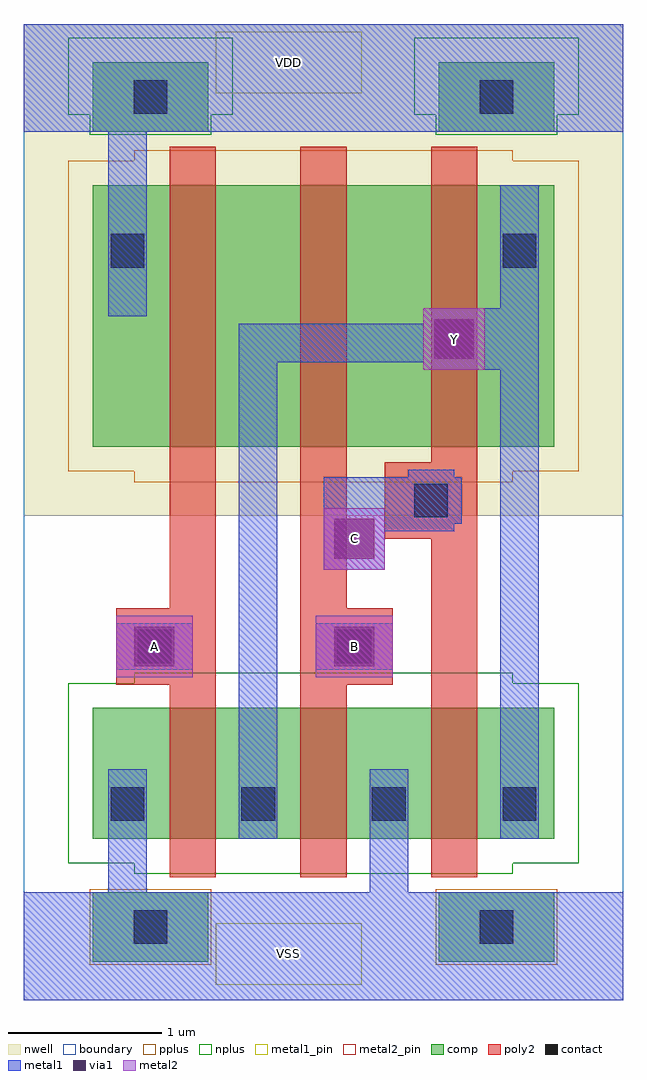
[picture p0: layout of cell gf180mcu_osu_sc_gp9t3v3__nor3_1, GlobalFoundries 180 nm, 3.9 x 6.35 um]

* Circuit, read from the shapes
.subckt gf180mcu_osu_sc_gp9t3v3__nor3_1 A B C VDD VSS Y
XM1 Y A VSS VSS nfet_03v3 w=0.85u l=0.3u
XM2 VSS B Y VSS nfet_03v3 w=0.85u l=0.3u
XM3 Y C VSS VSS nfet_03v3 w=0.85u l=0.3u
XM4 n1 A VDD VDD pfet_03v3 w=1.7u l=0.3u
XM5 n2 B n1 VDD pfet_03v3 w=1.7u l=0.3u
XM6 Y C n2 VDD pfet_03v3 w=1.7u l=0.3u
.ends

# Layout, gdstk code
import gdstk
lib = gdstk.Library(unit=1e-6, precision=1e-09)
def R(c, l, rs):  # rectangles x0, y0, x1, y1
    for r in rs: c.add(gdstk.rectangle(r[:2], r[2:], *l))
def A(c, l, x, y, w, h, nx, ny, dx, dy):  # array of equal rectangles
    R(c, l, [(x+i*dx, y+j*dy, x+i*dx+w, y+j*dy+h) for i in range(nx) for j in range(ny)])
boundary = (0, 0)
nwell = (21, 0)
comp = (22, 0)
poly2 = (30, 0)
pplus = (31, 0)
nplus = (32, 0)
contact = (33, 0)
metal1 = (34, 0)
metal1_pin = (34, 10)
via1 = (35, 0)
metal2 = (36, 0)
metal2_pin = (36, 10)

gf180mcu_osu_sc_gp9t3v3_ = lib.new_cell('gf180mcu_osu_sc_gp9t3v3__nor3_1')
R(gf180mcu_osu_sc_gp9t3v3_, boundary, [(5.7,0,9.6,6.35)])
R(gf180mcu_osu_sc_gp9t3v3_, nwell, [(5.7,3.15,9.6,6.35)])
R(gf180mcu_osu_sc_gp9t3v3_, comp, [(6.15,0.25,6.9,0.7), (8.4,0.25,9.15,0.7), (6.15,1.05,9.15,1.9), (6.15,3.6,9.15,5.3), (6.15,5.65,6.9,6.1), (8.4,5.65,9.15,6.1)])
R(gf180mcu_osu_sc_gp9t3v3_, poly2, [(6.65,0.8,6.95,2.05), (7.5,0.8,7.8,2.05), (8.35,0.8,8.65,3), (6.3,2.05,6.95,2.55), (7.5,2.05,8.1,2.55), (6.65,2.55,6.95,5.55), (7.5,2.55,7.8,5.55), (8.05,3,8.65,3.5), (8.35,3.5,8.65,5.55)])
R(gf180mcu_osu_sc_gp9t3v3_, pplus, [(6.13,0.23,6.92,0.72), (8.38,0.23,9.17,0.72), (6.42,3.37,8.88,3.44), (5.99,3.44,9.31,5.46), (6.42,5.46,8.88,5.53)])
R(gf180mcu_osu_sc_gp9t3v3_, nplus, [(6.42,0.82,8.88,0.89), (5.99,0.89,9.31,2.06), (6.42,2.06,8.88,2.13), (6.13,5.63,6.92,5.76), (8.38,5.63,9.17,5.76), (5.99,5.76,7.06,6.26), (8.24,5.76,9.31,6.26)])
A(gf180mcu_osu_sc_gp9t3v3_, contact, 6.265, 1.165, 0.22, 0.22, 4, 1, 0.85, 0)
R(gf180mcu_osu_sc_gp9t3v3_, contact, [(6.415,0.365,6.635,0.585), (8.665,0.365,8.885,0.585), (6.44,2.19,6.66,2.41), (7.74,2.19,7.96,2.41), (8.24,3.14,8.46,3.36), (6.265,4.765,6.485,4.985), (8.815,4.765,9.035,4.985), (6.415,5.765,6.635,5.985), (8.665,5.765,8.885,5.985)])
R(gf180mcu_osu_sc_gp9t3v3_, metal1, [(5.7,0,9.6,0.7), (6.25,0.7,6.5,1.5), (7.95,0.7,8.2,1.5), (7.1,1.05,7.35,4.15), (8.8,1.05,9.05,4.1), (6.3,2.15,6.8,2.45), (7.6,2.15,8.1,2.45), (7.65,2.8,8.05,3.05), (7.65,3.05,8.5,3.1), (7.65,3.1,8.55,3.4), (8.2,3.4,8.5,3.45), (8.3,4.1,9.05,4.15), (7.1,4.15,9.05,4.4), (8.3,4.4,9.05,4.5), (6.25,4.45,6.5,5.65), (8.8,4.5,9.05,5.3), (5.7,5.65,9.6,6.35)])
R(gf180mcu_osu_sc_gp9t3v3_, metal1_pin, [(6.95,0.1,7.9,0.5), (6.95,5.9,7.9,6.3)])
R(gf180mcu_osu_sc_gp9t3v3_, via1, [(6.42,2.17,6.68,2.43), (7.72,2.17,7.98,2.43), (7.72,2.87,7.98,3.13), (8.37,4.17,8.63,4.43)])
R(gf180mcu_osu_sc_gp9t3v3_, metal2, [(6.3,2.1,6.8,2.5), (7.6,2.1,8.1,2.5), (7.65,2.8,8.05,3.2), (8.3,4.1,8.7,4.5)])
R(gf180mcu_osu_sc_gp9t3v3_, metal2_pin, [(6.3,2.1,6.8,2.5), (7.6,2.1,8.1,2.5), (7.65,2.8,8.05,3.2), (8.3,4.1,8.7,4.5)])
gf180mcu_osu_sc_gp9t3v3_.add(gdstk.Label('A', (6.55,2.3), layer=36, texttype=10))
gf180mcu_osu_sc_gp9t3v3_.add(gdstk.Label('B', (7.85,2.3), layer=36, texttype=10))
gf180mcu_osu_sc_gp9t3v3_.add(gdstk.Label('C', (7.85,3), layer=36, texttype=10))
gf180mcu_osu_sc_gp9t3v3_.add(gdstk.Label('VDD', (7.425,6.1), layer=34, texttype=10))
gf180mcu_osu_sc_gp9t3v3_.add(gdstk.Label('Y', (8.5,4.3), layer=36, texttype=10))
gf180mcu_osu_sc_gp9t3v3_.add(gdstk.Label('VSS', (7.425,0.3), layer=34, texttype=10))

lib.write_gds('gf180mcu_osu_sc_gp9t3v3__nor3_1.gds')
